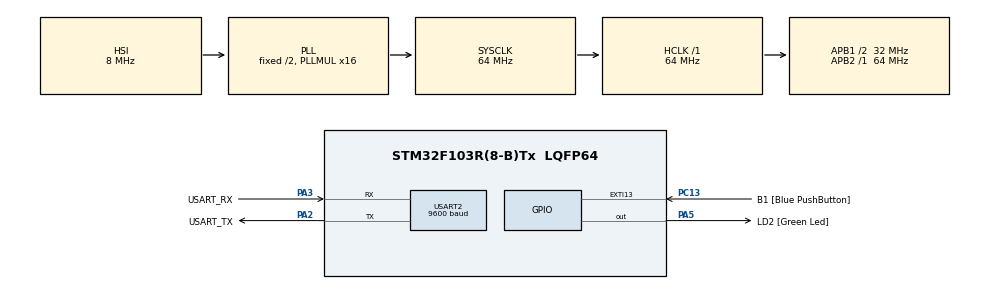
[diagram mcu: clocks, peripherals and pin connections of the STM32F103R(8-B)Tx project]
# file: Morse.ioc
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Mcu.Family=STM32F1
Mcu.Name=STM32F103R(8-B)Tx
Mcu.Package=LQFP64
NVIC.EXTI15_10_IRQn=true\:0\:0\:false\:false\:true\:true\:true\:true
NVIC.PriorityGroup=NVIC_PRIORITYGROUP_4
NVIC.TIM2_IRQn=true\:0\:0\:false\:false\:true\:true\:true\:true
NVIC.USART2_IRQn=true\:0\:0\:false\:false\:true\:true\:true\:true
PA13.GPIO_Label=TMS
PA13.Mode=Serial_Wire
PA13.Signal=SYS_JTMS-SWDIO
PA14.GPIO_Label=TCK
PA14.Mode=Serial_Wire
PA14.Signal=SYS_JTCK-SWCLK
PA2.GPIO_Label=USART_TX
PA2.GPIO_Mode=GPIO_MODE_AF_PP
PA2.GPIO_PuPd=GPIO_NOPULL
PA2.GPIO_Speed=GPIO_SPEED_FREQ_LOW
PA2.Mode=Asynchronous
PA2.Signal=USART2_TX
PA3.GPIO_Label=USART_RX
PA3.GPIO_Mode=GPIO_MODE_AF_PP
PA3.GPIO_PuPd=GPIO_NOPULL
PA3.GPIO_Speed=GPIO_SPEED_FREQ_LOW
PA3.Mode=Asynchronous
PA3.Signal=USART2_RX
PA5.GPIO_Label=LD2 [Green Led]
PA5.GPIO_ModeDefaultOutputPP=GPIO_MODE_OUTPUT_PP
PA5.GPIO_PuPd=GPIO_NOPULL
PA5.GPIO_Speed=GPIO_SPEED_FREQ_LOW
PA5.Signal=GPIO_Output
PB3.GPIO_Label=SWO
PB3.Signal=SYS_JTDO-TRACESWO
PC13-TAMPER-RTC.GPIO_Label=B1 [Blue PushButton]
PC13-TAMPER-RTC.GPIO_PuPd=GPIO_NOPULL
PC13-TAMPER-RTC.Signal=GPXTI13
PC14-OSC32_IN.Mode=LSE-External-Oscillator
PC14-OSC32_IN.Signal=RCC_OSC32_IN
PC15-OSC32_OUT.Mode=LSE-External-Oscillator
PC15-OSC32_OUT.Signal=RCC_OSC32_OUT
PD0-OSC_IN.Mode=HSE-External-Clock-Source
PD0-OSC_IN.Signal=RCC_OSC_IN
PD1-OSC_OUT.Mode=HSE-External-Clock-Source
PD1-OSC_OUT.Signal=RCC_OSC_OUT
ProjectManager.HeapSize=0x200
ProjectManager.StackSize=0x400
ProjectManager.TargetToolchain=STM32CubeIDE
RCC.AHBFreq_Value=64000000
RCC.APB1CLKDivider=RCC_HCLK_DIV2
RCC.APB1Freq_Value=32000000
RCC.APB1TimFreq_Value=64000000
RCC.APB2Freq_Value=64000000
RCC.APB2TimFreq_Value=64000000
RCC.HCLKFreq_Value=64000000
RCC.PLLMUL=RCC_PLL_MUL16
RCC.RTCClockSelection=RCC_RTCCLKSOURCE_LSE
RCC.SYSCLKFreq_VALUE=64000000
RCC.SYSCLKSource=RCC_SYSCLKSOURCE_PLLCLK
RCC.USBFreq_Value=64000000
TIM2.AutoReloadPreload=TIM_AUTORELOAD_PRELOAD_ENABLE
TIM2.Period=9999
TIM2.Prescaler=64
USART2.BaudRate=9600
USART2.VirtualMode=VM_ASYNC
VP_TIM2_VS_ClockSourceINT.Mode=Internal
board=NUCLEO-F103RB

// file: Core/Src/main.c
/* USER CODE BEGIN Header */
/**
  ******************************************************************************
  * @file           : main.c
  * @brief          : Main program body
  ******************************************************************************
  * @attention
  *
  * Copyright (c) 2023 STMicroelectronics.
  * All rights reserved.
  *
  * This software is licensed under terms that can be found in the LICENSE file
  * in the root directory of this software component.
  * If no LICENSE file comes with this software, it is provided AS-IS.
  *
  ******************************************************************************
  */
/* USER CODE END Header */
#include "main.h"

/* USER CODE BEGIN Includes */
#include "sii_signal.h"
#include "sii_modes.h"
/* USER CODE END Includes */

TIM_HandleTypeDef htim2;

UART_HandleTypeDef huart2;

/* USER CODE BEGIN PV */

SII_DATA_Data_t SII_DATA_Data;
SII_MODES_Mode_t SII_MODES_Mode = MODE_IDLE;
uint8_t sii_data_dataframe[DATAFRAME_LENGHT];
uint8_t sii_morse_message[MESSAGE_LENGHT * MORSE_CHARACTER_LENGHT];
uint8_t rx_step = 0;

/* USER CODE END PV */

void SystemClock_Config(void);
static void MX_GPIO_Init(void);
static void MX_USART2_UART_Init(void);
static void MX_TIM2_Init(void);

int main(void)
{
  /* USER CODE BEGIN 1 */

	SII_DATA_Data.uart = &huart2;

  /* USER CODE END 1 */

  /* MCU Configuration--------------------------------------------------------*/

  /* Reset of all peripherals, Initializes the Flash interface and the Systick. */
  HAL_Init();

  /* Configure the system clock */
  SystemClock_Config();

  /* Initialize all configured peripherals */
  MX_GPIO_Init();
  MX_USART2_UART_Init();
  MX_TIM2_Init();
  /* USER CODE BEGIN 2 */
  HAL_UART_Receive_IT(SII_DATA_Data.uart, &sii_data_dataframe[rx_step], 1);

  /* USER CODE END 2 */

  /* Infinite loop */
  /* USER CODE BEGIN WHILE */
  while (1)
  {

	  SII_MODES_RunMode(&SII_DATA_Data, sii_morse_message, SII_MODES_Mode);

    /* USER CODE END WHILE */

  }
}

void SystemClock_Config(void)
{
  RCC_OscInitTypeDef RCC_OscInitStruct = {0};
  RCC_ClkInitTypeDef RCC_ClkInitStruct = {0};

  /** Initializes the RCC Oscillators according to the specified parameters
  * in the RCC_OscInitTypeDef structure.
  */
  RCC_OscInitStruct.OscillatorType = RCC_OSCILLATORTYPE_HSI;
  RCC_OscInitStruct.HSIState = RCC_HSI_ON;
  RCC_OscInitStruct.HSICalibrationValue = RCC_HSICALIBRATION_DEFAULT;
  RCC_OscInitStruct.PLL.PLLState = RCC_PLL_ON;
  RCC_OscInitStruct.PLL.PLLSource = RCC_PLLSOURCE_HSI_DIV2;
  RCC_OscInitStruct.PLL.PLLMUL = RCC_PLL_MUL16;
  if (HAL_RCC_OscConfig(&RCC_OscInitStruct) != HAL_OK)
  {
    Error_Handler();
  }

  /** Initializes the CPU, AHB and APB buses clocks
  */
  RCC_ClkInitStruct.ClockType = RCC_CLOCKTYPE_HCLK|RCC_CLOCKTYPE_SYSCLK
                              |RCC_CLOCKTYPE_PCLK1|RCC_CLOCKTYPE_PCLK2;
  RCC_ClkInitStruct.SYSCLKSource = RCC_SYSCLKSOURCE_PLLCLK;
  RCC_ClkInitStruct.AHBCLKDivider = RCC_SYSCLK_DIV1;
  RCC_ClkInitStruct.APB1CLKDivider = RCC_HCLK_DIV2;
  RCC_ClkInitStruct.APB2CLKDivider = RCC_HCLK_DIV1;

  if (HAL_RCC_ClockConfig(&RCC_ClkInitStruct, FLASH_LATENCY_2) != HAL_OK)
  {
    Error_Handler();
  }
}

static void MX_TIM2_Init(void)
{

  TIM_ClockConfigTypeDef sClockSourceConfig = {0};
  TIM_MasterConfigTypeDef sMasterConfig = {0};

  htim2.Instance = TIM2;
  htim2.Init.Prescaler = 64;
  htim2.Init.CounterMode = TIM_COUNTERMODE_UP;
  htim2.Init.Period = 9999;
  htim2.Init.ClockDivision = TIM_CLOCKDIVISION_DIV1;
  htim2.Init.AutoReloadPreload = TIM_AUTORELOAD_PRELOAD_ENABLE;
  if (HAL_TIM_Base_Init(&htim2) != HAL_OK)
  {
    Error_Handler();
  }
  sClockSourceConfig.ClockSource = TIM_CLOCKSOURCE_INTERNAL;
  if (HAL_TIM_ConfigClockSource(&htim2, &sClockSourceConfig) != HAL_OK)
  {
    Error_Handler();
  }
  sMasterConfig.MasterOutputTrigger = TIM_TRGO_RESET;
  sMasterConfig.MasterSlaveMode = TIM_MASTERSLAVEMODE_DISABLE;
  if (HAL_TIMEx_MasterConfigSynchronization(&htim2, &sMasterConfig) != HAL_OK)
  {
    Error_Handler();
  }
  /* USER CODE BEGIN TIM2_Init 2 */
  HAL_TIM_Base_Start(&htim2);
  /* USER CODE END TIM2_Init 2 */

}

static void MX_USART2_UART_Init(void)
{

  huart2.Instance = USART2;
  huart2.Init.BaudRate = 9600;
  huart2.Init.WordLength = UART_WORDLENGTH_8B;
  huart2.Init.StopBits = UART_STOPBITS_1;
  huart2.Init.Parity = UART_PARITY_NONE;
  huart2.Init.Mode = UART_MODE_TX_RX;
  huart2.Init.HwFlowCtl = UART_HWCONTROL_NONE;
  huart2.Init.OverSampling = UART_OVERSAMPLING_16;
  if (HAL_UART_Init(&huart2) != HAL_OK)
  {
    Error_Handler();
  }

}

static void MX_GPIO_Init(void)
{
  GPIO_InitTypeDef GPIO_InitStruct = {0};

  /* GPIO Ports Clock Enable */
  __HAL_RCC_GPIOC_CLK_ENABLE();
  __HAL_RCC_GPIOD_CLK_ENABLE();
  __HAL_RCC_GPIOA_CLK_ENABLE();
  __HAL_RCC_GPIOB_CLK_ENABLE();

  /*Configure GPIO pin Output Level */
  HAL_GPIO_WritePin(LD2_GPIO_Port, LD2_Pin, GPIO_PIN_RESET);

  /*Configure GPIO pin : B1_Pin */
  GPIO_InitStruct.Pin = B1_Pin;
  GPIO_InitStruct.Mode = GPIO_MODE_IT_RISING;
  GPIO_InitStruct.Pull = GPIO_NOPULL;
  HAL_GPIO_Init(B1_GPIO_Port, &GPIO_InitStruct);

  /*Configure GPIO pin : LD2_Pin */
  GPIO_InitStruct.Pin = LD2_Pin;
  GPIO_InitStruct.Mode = GPIO_MODE_OUTPUT_PP;
  GPIO_InitStruct.Pull = GPIO_NOPULL;
  GPIO_InitStruct.Speed = GPIO_SPEED_FREQ_LOW;
  HAL_GPIO_Init(LD2_GPIO_Port, &GPIO_InitStruct);

  /* EXTI interrupt init*/
  HAL_NVIC_SetPriority(EXTI15_10_IRQn, 0, 0);
  HAL_NVIC_EnableIRQ(EXTI15_10_IRQn);

}

/* USER CODE BEGIN 4 */
void HAL_UART_RxCpltCallback(UART_HandleTypeDef *huart)
{
	if ((rx_step > 5) && (sii_data_dataframe[rx_step] == '\n'))
	{
		SII_DATA_GetFrame(&SII_DATA_Data, sii_data_dataframe, rx_step);
		SII_MORSE_MessageToMorse(&SII_DATA_Data, sii_morse_message);
		SII_MODES_Mode = SII_MODES_GetMode(&SII_DATA_Data);
		rx_step = 0;
	}
	else
	{
		rx_step++;
	}
	HAL_UART_Receive_IT(&huart2, &sii_data_dataframe[rx_step], 1);
}
/* USER CODE END 4 */

void Error_Handler(void)
{
  __disable_irq();
  while (1)
  {
  }
}
